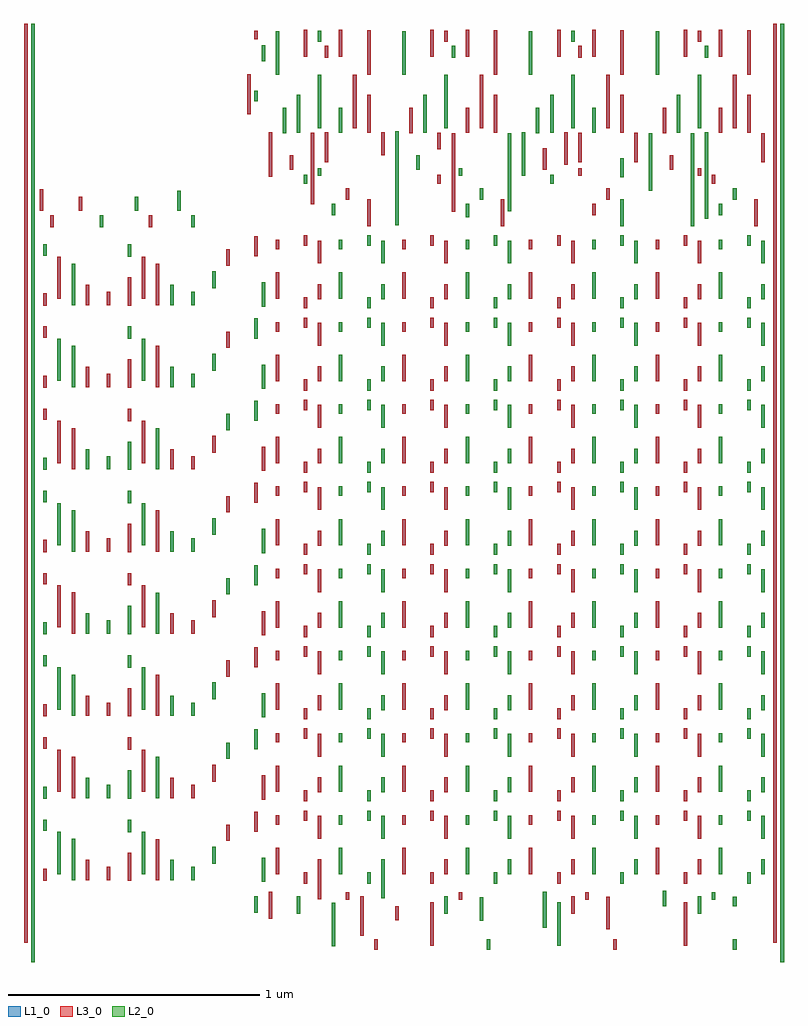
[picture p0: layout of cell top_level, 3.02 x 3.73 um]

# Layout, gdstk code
import gdstk
lib = gdstk.Library(unit=1e-6, precision=5e-10)
def R(c, l, rs):  # rectangles x0, y0, x1, y1
    for r in rs: c.add(gdstk.rectangle(r[:2], r[2:], *l))
def A(c, l, x, y, w, h, nx, ny, dx, dy):  # array of equal rectangles
    R(c, l, [(x+i*dx, y+j*dy, x+i*dx+w, y+j*dy+h) for i in range(nx) for j in range(ny)])
L1_0 = (1, 0)
L2_0 = (2, 0)
L3_0 = (3, 0)

vcell_hold_vcellr1_1r = lib.new_cell('VCELL_HOLD_VCELLR1_1R')
A(vcell_hold_vcellr1_1r, L1_0, 0.133, -0.3195, 0.014, 0.0445, 4, 1, 0.252, 0)
A(vcell_hold_vcellr1_1r, L1_0, 0.189, -0.2825, 0.014, 0.0595, 4, 1, 0.252, 0)
A(vcell_hold_vcellr1_1r, L1_0, 0.021, -0.2815, 0.014, 0.105, 4, 1, 0.252, 0)
A(vcell_hold_vcellr1_1r, L1_0, 0.189, -0.1405, 0.014, 0.091, 4, 1, 0.252, 0)
A(vcell_hold_vcellr1_1r, L1_0, 0.021, -0.0845, 0.014, 0.0375, 4, 1, 0.252, 0)
A(vcell_hold_vcellr1_1r, L1_0, 0.133, -0.07, 0.014, 0.041, 4, 1, 0.252, 0)
R(vcell_hold_vcellr1_1r, L2_0, [(0.385,-0.3195,0.399,-0.275), (0.889,-0.3195,0.903,-0.275), (0.945,-0.2825,0.959,-0.223), (0.273,-0.2815,0.287,-0.1765), (0.777,-0.2815,0.791,-0.1765), (0.441,-0.1405,0.455,-0.0495), (0.945,-0.1405,0.959,-0.0495), (0.273,-0.0845,0.287,-0.047), (0.777,-0.0845,0.791,-0.047), (0.385,-0.07,0.399,-0.029), (0.889,-0.07,0.903,-0.029)])
R(vcell_hold_vcellr1_1r, L3_0, [(0.133,-0.3195,0.147,-0.275), (0.637,-0.3195,0.651,-0.275), (0.693,-0.2825,0.707,-0.223), (0.021,-0.2815,0.035,-0.1765), (0.525,-0.2815,0.539,-0.1765), (0.189,-0.1405,0.203,-0.0495), (0.693,-0.1405,0.707,-0.0495), (0.021,-0.0845,0.035,-0.047), (0.525,-0.0845,0.539,-0.047), (0.133,-0.07,0.147,-0.029), (0.637,-0.07,0.651,-0.029)])

vcell_hold_vcellr4_1r = lib.new_cell('VCELL_HOLD_VCELLR4_1R')
R(vcell_hold_vcellr4_1r, L2_0, [(0.441,-0.2825,0.455,-0.223)])
R(vcell_hold_vcellr4_1r, L3_0, [(0.189,-0.2825,0.203,-0.223)])
vcell_hold_vcellr4_1r.add(gdstk.Reference(vcell_hold_vcellr1_1r, (0,-0.327)))
vcell_hold_vcellr4_1r.add(gdstk.Reference(vcell_hold_vcellr1_1r, (0,0)))

and_v1 = lib.new_cell('and_v1')
R(and_v1, L1_0, [(0.021,0.027,0.035,0.135)])
R(and_v1, L3_0, [(0.021,0.027,0.035,0.135)])

vcell_hold_and_3r = lib.new_cell('VCELL_HOLD_and_3R')
R(vcell_hold_and_3r, L1_0, [(-0.035,0.027,-0.021,0.135)])
R(vcell_hold_and_3r, L3_0, [(-0.035,0.027,-0.021,0.135)])

vcell_hold_write_buffer_ = lib.new_cell('VCELL_HOLD_write_buffer_cell_1R')
R(vcell_hold_write_buffer_, L1_0, [(0.105,-0.2235,0.119,-0.0505), (0.469,-0.2235,0.483,-0.0465)])
R(vcell_hold_write_buffer_, L2_0, [(0.105,-0.2235,0.119,-0.0505)])
R(vcell_hold_write_buffer_, L3_0, [(0.469,-0.2235,0.483,-0.0465)])
vcell_hold_write_buffer_.add(gdstk.Reference(and_v1, (0.336,-0.179)))
vcell_hold_write_buffer_.add(gdstk.Reference(vcell_hold_and_3r, (0.252,-0.179)))

vcellr3 = lib.new_cell('VCELLR3')
R(vcellr3, L1_0, [(0.0905,0.063,0.1045,0.231), (0.0905,0.39,0.1045,0.558)])
R(vcellr3, L2_0, [(0.0905,0.063,0.1045,0.231)])
R(vcellr3, L3_0, [(0.0905,0.39,0.1045,0.558)])

sram_lvs_grid = lib.new_cell('sram_lvs_grid')
R(sram_lvs_grid, L1_0, [(0.0675,0.0395,0.0815,3.7725), (0.0395,0.116,0.0535,3.7725)])
R(sram_lvs_grid, L2_0, [(0.0675,0.0395,0.0815,3.7725)])
R(sram_lvs_grid, L3_0, [(0.0395,0.116,0.0535,3.7725)])

top_level = lib.new_cell('top_level')
A(top_level, L1_0, 1.701, 0.2145, 0.014, 0.0685, 3, 1, 0.504, 0)
A(top_level, L1_0, 1.757, 0.2705, 0.014, 0.029, 3, 1, 0.504, 0)
A(top_level, L1_0, 0.973, 0.3415, 0.014, 0.096, 1, 8, 0, 0.327)
A(top_level, L1_0, 0.105, 0.3455, 0.014, 0.048, 1, 8, 0, 0.327)
A(top_level, L1_0, 0.441, 0.3455, 0.014, 0.1125, 1, 8, 0, 0.327)
A(top_level, L1_0, 0.217, 0.3475, 0.014, 0.1645, 1, 8, 0, 0.327)
A(top_level, L1_0, 0.273, 0.3475, 0.014, 0.081, 1, 8, 0, 0.327)
A(top_level, L1_0, 0.357, 0.3475, 0.014, 0.053, 1, 8, 0, 0.327)
A(top_level, L1_0, 0.553, 0.3475, 0.014, 0.164, 1, 8, 0, 0.327)
A(top_level, L1_0, 0.609, 0.3475, 0.014, 0.081, 1, 8, 0, 0.327)
A(top_level, L1_0, 0.693, 0.3475, 0.014, 0.053, 1, 8, 0, 0.327)
A(top_level, L1_0, 0.777, 0.4135, 0.014, 0.0675, 1, 8, 0, 0.327)
A(top_level, L1_0, 0.497, 0.457, 0.014, 0.02, 1, 8, 0, 0.327)
A(top_level, L1_0, 0.833, 0.504, 0.014, 0.0645, 1, 8, 0, 0.327)
A(top_level, L1_0, 0.161, 0.513, 0.014, 0.02, 1, 8, 0, 0.327)
A(top_level, L1_0, 0.441, 0.5395, 0.014, 0.0495, 1, 8, 0, 0.327)
A(top_level, L1_0, 0.945, 0.541, 0.014, 0.08, 1, 8, 0, 0.327)
A(top_level, L1_0, 0.105, 0.5445, 0.014, 0.0445, 1, 8, 0, 0.327)
A(top_level, L1_0, 0.133, 2.945, 0.014, 0.0495, 3, 1, 0.196, 0)
A(top_level, L1_0, 1.841, 3.055, 0.014, 0.0455, 3, 1, 0.504, 0)
A(top_level, L1_0, 1.757, 3.1505, 0.014, 0.0295, 3, 1, 0.476, 0)
A(top_level, L1_0, 1.057, 3.3195, 0.014, 0.101, 4, 1, 0.504, 0)
A(top_level, L1_0, 1.281, 3.321, 0.014, 0.101, 4, 1, 0.504, 0)
A(top_level, L1_0, 1.197, 3.34, 0.014, 0.2135, 4, 1, 0.504, 0)
A(top_level, L1_0, 1.337, 3.3405, 0.014, 0.213, 4, 1, 0.504, 0)
A(top_level, L1_0, 1.225, 3.62, 0.014, 0.0485, 4, 1, 0.504, 0)
A(top_level, L1_0, 1.197, 3.684, 0.014, 0.0435, 4, 1, 0.504, 0)
R(top_level, L1_0, [(1.421,0.0715,1.435,0.1125), (1.869,0.0715,1.883,0.1125), (2.373,0.0715,2.387,0.1125), (2.849,0.0715,2.863,0.1125), (1.253,0.085,1.267,0.259), (1.645,0.0865,1.659,0.2605), (2.149,0.088,2.163,0.2605), (2.653,0.088,2.667,0.2605), (1.365,0.127,1.379,0.2835), (2.345,0.1535,2.359,0.2825), (2.093,0.159,2.107,0.301), (1.841,0.1875,1.855,0.28), (1.505,0.188,1.519,0.245), (1.001,0.195,1.015,0.301), (1.113,0.2145,1.127,0.283), (0.945,0.2175,0.959,0.283), (2.569,0.244,2.583,0.3055), (2.849,0.244,2.863,0.2825), (1.309,0.2705,1.323,0.2995), (1.197,0.272,1.211,0.371), (1.449,0.276,1.463,0.371), (0.693,2.945,0.707,2.9945), (2.681,2.95,2.695,3.3195), (1.393,2.9505,1.407,3.057), (1.925,2.9505,1.939,3.057), (2.401,2.9505,2.415,3.057), (2.933,2.9505,2.947,3.057), (1.505,2.953,1.519,3.327), (2.737,2.9805,2.751,3.323), (1.785,2.9865,1.799,3.039), (1.253,2.994,1.267,3.039), (2.289,2.994,2.303,3.039), (2.793,2.994,2.807,3.039), (1.729,3.007,1.743,3.3205), (1.953,3.009,1.967,3.3205), (0.637,3.011,0.651,3.0905), (0.091,3.0115,0.105,3.0975), (0.2455,3.0115,0.2595,3.067), (0.469,3.0115,0.483,3.067), (1.169,3.0375,1.183,3.3215), (1.309,3.055,1.323,3.1005), (2.513,3.0915,2.527,3.3205), (1.141,3.1195,1.155,3.154), (1.673,3.1195,1.687,3.154), (2.121,3.1195,2.135,3.154), (2.765,3.1195,2.779,3.154), (2.401,3.144,2.415,3.221), (1.001,3.147,1.015,3.3235), (1.197,3.1505,1.211,3.18), (2.009,3.1505,2.023,3.3235), (1.085,3.175,1.099,3.232), (1.589,3.175,1.603,3.232), (2.093,3.175,2.107,3.26), (2.597,3.175,2.611,3.232), (2.177,3.1955,2.191,3.3235), (2.233,3.2045,2.247,3.3215), (2.961,3.2045,2.975,3.3195), (1.225,3.205,1.239,3.3235), (2.457,3.205,2.471,3.3215), (1.449,3.2315,1.463,3.323), (1.673,3.257,1.687,3.3225), (1.113,3.322,1.127,3.4735), (1.393,3.322,1.407,3.4735), (1.617,3.322,1.631,3.4735), (1.897,3.322,1.911,3.4735), (2.121,3.322,2.135,3.4735), (2.401,3.322,2.415,3.4735), (2.625,3.322,2.639,3.4735), (2.905,3.322,2.919,3.4735), (0.917,3.3965,0.931,3.5555), (0.945,3.447,0.959,3.4885), (0.973,3.606,0.987,3.6695), (0.945,3.6935,0.959,3.7275)])
A(top_level, L2_0, 0.973, 0.3415, 0.014, 0.096, 1, 4, 0, 0.654)
A(top_level, L2_0, 0.217, 0.3475, 0.014, 0.1645, 1, 4, 0, 0.654)
A(top_level, L2_0, 0.609, 0.3475, 0.014, 0.081, 1, 4, 0, 0.654)
A(top_level, L2_0, 0.693, 0.3475, 0.014, 0.053, 1, 4, 0, 0.654)
A(top_level, L2_0, 2.457, 0.371, 0.014, 0.0595, 1, 4, 0, 0.654)
A(top_level, L2_0, 0.777, 0.4135, 0.014, 0.0675, 1, 4, 0, 0.654)
A(top_level, L2_0, 0.441, 0.5395, 0.014, 0.0495, 1, 4, 0, 0.654)
A(top_level, L2_0, 0.105, 0.5445, 0.014, 0.0445, 1, 3, 0, 0.654)
A(top_level, L2_0, 0.105, 0.6725, 0.014, 0.048, 1, 3, 0, 0.654)
A(top_level, L2_0, 0.441, 0.6725, 0.014, 0.1125, 1, 3, 0, 0.654)
A(top_level, L2_0, 0.273, 0.6745, 0.014, 0.081, 1, 3, 0, 0.654)
A(top_level, L2_0, 0.357, 0.6745, 0.014, 0.053, 1, 3, 0, 0.654)
A(top_level, L2_0, 0.553, 0.6745, 0.014, 0.164, 1, 3, 0, 0.654)
A(top_level, L2_0, 0.833, 0.831, 0.014, 0.0645, 1, 3, 0, 0.654)
A(top_level, L2_0, 0.945, 0.868, 0.014, 0.08, 1, 3, 0, 0.654)
A(top_level, L2_0, 1.449, 1.025, 0.014, 0.0595, 1, 3, 0, 0.654)
A(top_level, L2_0, 1.113, 3.322, 0.014, 0.1515, 4, 1, 0.504, 0)
A(top_level, L2_0, 1.197, 3.34, 0.014, 0.2135, 4, 1, 0.504, 0)
R(top_level, L2_0, [(1.869,0.0715,1.883,0.1125), (2.849,0.0715,2.863,0.1125), (1.253,0.085,1.267,0.259), (2.149,0.088,2.163,0.2605), (2.093,0.159,2.107,0.301), (1.841,0.1875,1.855,0.28), (1.113,0.2145,1.127,0.283), (1.701,0.2145,1.715,0.283), (2.709,0.2145,2.723,0.283), (0.945,0.2175,0.959,0.283), (2.569,0.244,2.583,0.3055), (2.849,0.244,2.863,0.2825), (2.765,0.2705,2.779,0.2995), (1.449,0.276,1.463,0.4305), (0.945,2.503,0.959,2.583), (0.973,2.6305,0.987,2.7265), (0.217,2.6365,0.231,2.801), (0.609,2.6365,0.623,2.7175), (0.693,2.6365,0.707,2.6895), (0.777,2.7025,0.791,2.77), (0.441,2.8285,0.455,2.878), (0.105,2.8335,0.119,2.878), (0.329,2.945,0.343,2.9945), (0.693,2.945,0.707,2.9945), (2.681,2.95,2.695,3.3195), (2.401,2.9505,2.415,3.057), (1.505,2.953,1.519,3.327), (2.737,2.9805,2.751,3.323), (1.785,2.9865,1.799,3.039), (1.253,2.994,1.267,3.039), (2.793,2.994,2.807,3.039), (1.953,3.009,1.967,3.3205), (0.637,3.011,0.651,3.0905), (0.469,3.0115,0.483,3.067), (1.841,3.055,1.855,3.1005), (2.849,3.055,2.863,3.1005), (2.513,3.0915,2.527,3.3205), (1.141,3.1195,1.155,3.154), (2.121,3.1195,2.135,3.154), (2.401,3.144,2.415,3.221), (1.197,3.1505,1.211,3.18), (1.757,3.1505,1.771,3.18), (2.009,3.1505,2.023,3.3235), (1.589,3.175,1.603,3.232), (1.057,3.3195,1.071,3.4205), (2.065,3.3195,2.079,3.4205), (1.281,3.321,1.295,3.422), (2.289,3.321,2.303,3.422), (0.945,3.447,0.959,3.4885), (0.973,3.606,0.987,3.6695), (1.729,3.62,1.743,3.6685), (2.737,3.62,2.751,3.6685), (1.197,3.684,1.211,3.7275), (2.205,3.684,2.219,3.7275)])
A(top_level, L3_0, 0.105, 0.3455, 0.014, 0.048, 1, 4, 0, 0.654)
A(top_level, L3_0, 0.441, 0.3455, 0.014, 0.1125, 1, 4, 0, 0.654)
A(top_level, L3_0, 0.273, 0.3475, 0.014, 0.081, 1, 4, 0, 0.654)
A(top_level, L3_0, 0.357, 0.3475, 0.014, 0.053, 1, 4, 0, 0.654)
A(top_level, L3_0, 0.553, 0.3475, 0.014, 0.164, 1, 4, 0, 0.654)
A(top_level, L3_0, 2.205, 0.371, 0.014, 0.0595, 1, 4, 0, 0.654)
A(top_level, L3_0, 0.833, 0.504, 0.014, 0.0645, 1, 4, 0, 0.654)
A(top_level, L3_0, 0.945, 0.541, 0.014, 0.08, 1, 3, 0, 0.654)
A(top_level, L3_0, 0.973, 0.6685, 0.014, 0.096, 1, 3, 0, 0.654)
A(top_level, L3_0, 0.217, 0.6745, 0.014, 0.1645, 1, 3, 0, 0.654)
A(top_level, L3_0, 0.609, 0.6745, 0.014, 0.081, 1, 3, 0, 0.654)
A(top_level, L3_0, 0.693, 0.6745, 0.014, 0.053, 1, 3, 0, 0.654)
A(top_level, L3_0, 0.777, 0.7405, 0.014, 0.0675, 1, 3, 0, 0.654)
A(top_level, L3_0, 0.441, 0.8665, 0.014, 0.0495, 1, 3, 0, 0.654)
A(top_level, L3_0, 0.105, 0.8715, 0.014, 0.0445, 1, 3, 0, 0.654)
A(top_level, L3_0, 1.197, 1.025, 0.014, 0.0595, 1, 3, 0, 0.654)
A(top_level, L3_0, 1.393, 3.322, 0.014, 0.1515, 4, 1, 0.504, 0)
A(top_level, L3_0, 1.337, 3.3405, 0.014, 0.213, 4, 1, 0.504, 0)
R(top_level, L3_0, [(1.421,0.0715,1.435,0.1125), (2.373,0.0715,2.387,0.1125), (1.645,0.0865,1.659,0.2605), (2.653,0.088,2.667,0.2605), (1.365,0.127,1.379,0.2835), (2.345,0.1535,2.359,0.2825), (1.505,0.188,1.519,0.245), (1.001,0.195,1.015,0.301), (2.205,0.2145,2.219,0.283), (1.309,0.2705,1.323,0.2995), (1.757,0.2705,1.771,0.2995), (2.261,0.2705,2.275,0.2995), (1.197,0.272,1.211,0.4305), (0.105,2.5065,0.119,2.551), (0.105,2.6345,0.119,2.6825), (0.441,2.6345,0.455,2.747), (0.273,2.6365,0.287,2.7175), (0.357,2.6365,0.371,2.6895), (0.553,2.6365,0.567,2.8005), (0.833,2.793,0.847,2.8575), (0.945,2.83,0.959,2.91), (0.133,2.945,0.147,2.9945), (0.525,2.945,0.539,2.9945), (1.393,2.9505,1.407,3.057), (1.925,2.9505,1.939,3.057), (2.933,2.9505,2.947,3.057), (2.289,2.994,2.303,3.039), (1.729,3.007,1.743,3.3205), (0.091,3.0115,0.105,3.0975), (0.2455,3.0115,0.2595,3.067), (1.169,3.0375,1.183,3.3215), (1.309,3.055,1.323,3.1005), (2.345,3.055,2.359,3.1005), (1.673,3.1195,1.687,3.154), (2.765,3.1195,2.779,3.154), (1.001,3.147,1.015,3.3235), (2.233,3.1505,2.247,3.18), (2.709,3.1505,2.723,3.18), (1.085,3.175,1.099,3.232), (2.093,3.175,2.107,3.26), (2.597,3.175,2.611,3.232), (2.177,3.1955,2.191,3.3235), (2.233,3.2045,2.247,3.3215), (2.961,3.2045,2.975,3.3195), (1.225,3.205,1.239,3.3235), (2.457,3.205,2.471,3.3215), (1.449,3.2315,1.463,3.323), (1.673,3.257,1.687,3.3225), (1.561,3.3195,1.575,3.4205), (2.569,3.3195,2.583,3.4205), (1.785,3.321,1.799,3.422), (2.793,3.321,2.807,3.422), (0.917,3.3965,0.931,3.5555), (1.225,3.62,1.239,3.6685), (2.233,3.62,2.247,3.6685), (1.701,3.684,1.715,3.7275), (2.709,3.684,2.723,3.7275), (0.945,3.6935,0.959,3.7275)])
top_level.add(gdstk.Reference(vcell_hold_vcellr4_1r, (1.008,0.9805)))
top_level.add(gdstk.Reference(vcell_hold_vcellr4_1r, (2.016,0.9805)))
top_level.add(gdstk.Reference(vcell_hold_vcellr4_1r, (1.008,1.6345)))
top_level.add(gdstk.Reference(vcell_hold_vcellr4_1r, (1.008,2.2885)))
top_level.add(gdstk.Reference(vcell_hold_vcellr4_1r, (2.016,1.6345)))
top_level.add(gdstk.Reference(vcell_hold_vcellr4_1r, (2.016,2.2885)))
top_level.add(gdstk.Reference(vcell_hold_vcellr4_1r, (1.008,2.9425)))
top_level.add(gdstk.Reference(vcell_hold_vcellr4_1r, (2.016,2.9425)))
top_level.add(gdstk.Reference(vcell_hold_write_buffer_, (0.924,3.776)))
top_level.add(gdstk.Reference(vcell_hold_write_buffer_, (1.428,3.776)))
top_level.add(gdstk.Reference(vcell_hold_write_buffer_, (1.932,3.776)))
top_level.add(gdstk.Reference(vcell_hold_write_buffer_, (2.436,3.776)))
top_level.add(gdstk.Reference(vcellr3, (0.0705,0.3095)))
top_level.add(gdstk.Reference(vcellr3, (0.4065,0.3095)))
top_level.add(gdstk.Reference(vcellr3, (0.0705,0.9635)))
top_level.add(gdstk.Reference(vcellr3, (0.0705,1.6175)))
top_level.add(gdstk.Reference(vcellr3, (0.4065,0.9635)))
top_level.add(gdstk.Reference(vcellr3, (0.4065,1.6175)))
top_level.add(gdstk.Reference(vcellr3, (0.0705,2.2715)))
top_level.add(gdstk.Reference(vcellr3, (0.4065,2.2715)))
top_level.add(gdstk.Reference(sram_lvs_grid, (-0.0115,-0.0175)))
top_level.add(gdstk.Reference(sram_lvs_grid, (2.9705,-0.0175)))

lib.write_gds('top_level.gds')
